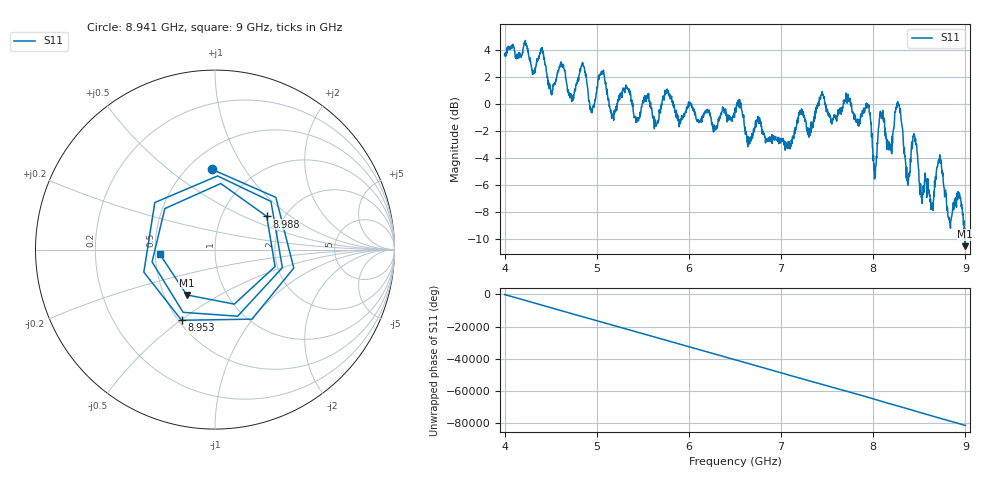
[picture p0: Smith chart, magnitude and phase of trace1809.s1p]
! Created with skrf 1.8.0 (http://scikit-rf.org).
# Hz S RI R 50.0
!freq ReS11 ImS11
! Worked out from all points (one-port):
!   1601 points, 4 GHz to 9 GHz, reference 50 ohm
!   lowest |S11| = -10.5 dB at 8.997 GHz (marker M1), VSWR 1.85, Z = 32.5 - j18 ohm
!   |S11| at or under -10 dB: 8.994706 GHz to end of sweep
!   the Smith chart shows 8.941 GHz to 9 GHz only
!   S11 on the Smith chart (normalised r, x): 8.941 GHz: 0.65, +0.72; 8.953 GHz: 0.52, -0.50; 8.988 GHz: 1.63, +0.68; 9 GHz: 0.53, -0.03
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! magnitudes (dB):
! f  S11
! 4 GHz  3.6
! 4.625 GHz  2.9
! 4.725 GHz  0.4
! 4.853 GHz  2.9
! 4.947 GHz  -0.5
! 5.05 GHz  2.4
! 5.159 GHz  -0.6
! 5.25 GHz  0.4
! 5.875 GHz  -0.9
! 6.5 GHz  -0.3
! 7.125 GHz  -2.4
! 7.75 GHz  0.2
! 7.944 GHz  -0.1
! 8.016 GHz  -5.6
! 8.081 GHz  -0.9
! 8.178 GHz  -3.2
! 8.272 GHz  -0.1
! 8.375 GHz  -6.0
! 8.444 GHz  -2.3
! 8.525 GHz  -6.8
! 8.638 GHz  -7.8
! 8.716 GHz  -4.1
! 8.825 GHz  -8.4
! 8.941 GHz  -7.0
! 8.953 GHz  -7.2
! 8.988 GHz  -9.3
! 8.997 GHz  -10.5
! 9 GHz  -10.2
